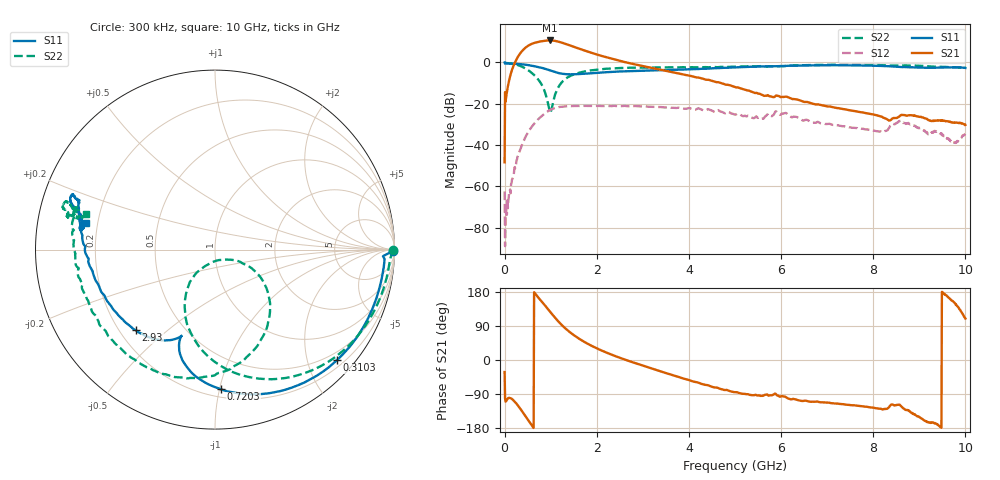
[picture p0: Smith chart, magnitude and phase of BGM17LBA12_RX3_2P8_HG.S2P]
!Agilent Technologies,E5071C,MY46316587,B.13.01
!Date: Fri Dec 08 10:57:19 2017
!Data & Calibration Information:
!Freq	S11:SOLT2(ON)	S21:SOLT2(ON)	S12:SOLT2(ON)	S22:SOLT2(ON)
!PortZ  Port1:50+j0  Port2:50+j0
!Above PortZ is port z conversion or system Z0 setting when saving the data.
!When reading, reference impedance value at option line is always used.
# Hz S dB R 50
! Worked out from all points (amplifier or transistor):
!   1001 points, 300 kHz to 10 GHz, reference 50 ohm
!   highest |S21| = 10.7 dB at 990.3 MHz (marker M1)
!   |S21| within 3 dB of that: 482.6 MHz to 1.494 GHz (1.011 GHz wide, 102 % of centre)
!   unconditionally stable (mu >= 1): start of sweep to end of sweep
!   at 1.66 GHz: K = 1.42, MAG = 9.9 dB, |S12| = -21.0 dB
!   at 5 GHz: K = 5.98, MAG = -4.1 dB, |S12| = -25.2 dB
!   at 10 GHz: K = 179.27, MAG = -23.4 dB, |S12| = -34.6 dB
!   lowest NFmin = 1.11 dB at 750 MHz
!   S11 on the Smith chart (normalised r, x): 300 kHz: open; 310.3 MHz: 0.33, -2.56; 720.3 MHz: 0.26, -1.01; 2.93 GHz: 0.26, -0.39; 10 GHz: 0.15, +0.10
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300000  -0.06 -0.4  -48.39 -31.8  -62.47 -24.1  -0.08 -0.1
6.02982e7  -0.51 -8.7  -12.94 -103.1  -65.93 137.0  -0.30 -11.2
1.902943e8  -0.60 -26.4  -1.83 -106.3  -54.69 157.7  -0.71 -34.0
3.102907e8  -0.76 -42.2  3.48 -123.5  -43.82 160.3  -1.44 -54.8
4.802856e8  -1.17 -63.1  7.62 -153.4  -34.97 146.6  -3.29 -82.5
6.00282e8  -1.61 -76.1  9.11 -174.4  -30.87 132.5  -5.27 -99.6
7.202784e8  -2.17 -87.6  9.94 166.6  -27.71 119.8  -8.00 -114.6
8.602742e8  -2.94 -98.9  10.48 146.2  -24.90 104.3  -13.43 -128.0
9.902703e8  -3.88 -106.6  10.66 127.0  -23.00 88.8  -24.13 -81.5
1.140266e9  -4.96 -110.8  10.22 105.2  -21.82 71.8  -13.21 -26.5
1.33026e9  -5.66 -111.3  8.95 82.2  -21.25 54.7  -7.80 -42.0
1.490255e9  -5.73 -111.3  7.69 66.6  -21.10 44.1  -5.89 -54.5
1.67025e9  -5.55 -112.2  6.28 52.1  -21.02 34.7  -4.66 -66.0
2.200234e9  -4.73 -119.2  2.56 20.0  -21.09 15.2  -3.06 -91.0
2.930212e9  -4.02 -134.4  -1.44 -12.3  -21.34 -4.7  -2.46 -115.4
3.3402e9  -3.74 -145.2  -3.32 -28.3  -21.55 -14.5  -2.36 -128.5
5.00015e9  -2.35 170.2  -11.90 -84.9  -25.20 -47.4  -2.07 177.1
6.6701e9  -1.40 158.8  -19.90 -110.3  -29.10 -67.5  -1.24 162.1
8.34005e9  -1.82 163.2  -28.10 -125.0  -31.77 -34.4  -1.43 165.4
8.600042e9  -2.20 165.3  -25.58 -121.3  -28.24 -62.8  -1.50 167.7
9.750008e9  -2.36 170.8  -29.10 152.5  -38.80 172.6  -2.38 166.2
1e10  -2.67 168.5  -30.24 109.5  -34.60 72.5  -2.57 164.6
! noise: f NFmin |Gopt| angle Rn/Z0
6.5e+08  1.178  0.5975  65.67  0.2985
7e+08  1.123  0.5041  71.75  0.2356
7.5e+08  1.106  0.5077  71.97  0.2292
8e+08  1.124  0.4885  75.47  0.2363
8.5e+08  1.106  0.4953  79.26  0.2202
9e+08  1.137  0.4579  81.11  0.2148
9.5e+08  1.162  0.4693  83.56  0.2268
1e+09  1.196  0.4482  88.86  0.1984
